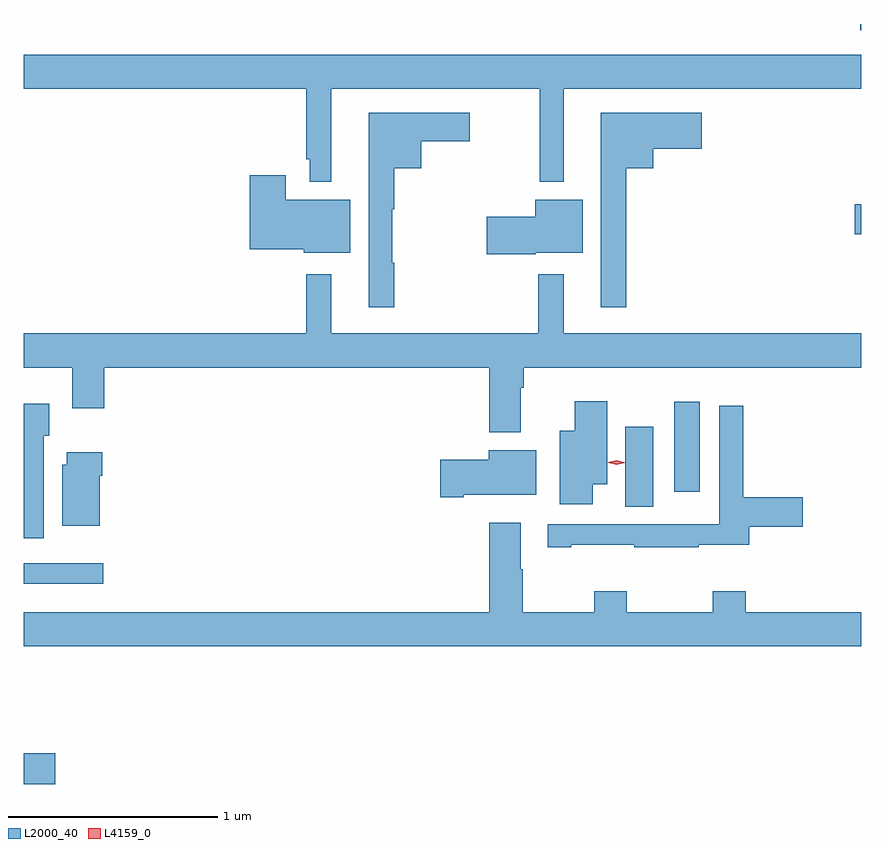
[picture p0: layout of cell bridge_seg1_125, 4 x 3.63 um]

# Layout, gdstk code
import gdstk
lib = gdstk.Library(unit=1e-6, precision=1e-09)
def R(c, l, rs):  # rectangles x0, y0, x1, y1
    for r in rs: c.add(gdstk.rectangle(r[:2], r[2:], *l))
def P(c, l, *ps):  # polygons
    for p in ps: c.add(gdstk.Polygon(p, *l))
L2000_40 = (2000, 40)
L4159_0 = (4159, 0)

bridge_seg1_125 = lib.new_cell('bridge_seg1_125')
R(bridge_seg1_125, L2000_40, [(300.782,529.763,300.931,529.91), (300.782,530.72,301.162,530.817), (303.656,531.088,303.79,531.469), (303.89,531.159,304.012,531.589), (304.752,532.39,304.782,532.532), (304.778,533.363,304.782,533.394)])
P(bridge_seg1_125, L2000_40, [(302.251,533.084),(303.247,533.084),(303.247,532.64),(303.361,532.64),(303.361,533.084),(304.782,533.084),(304.782,533.248),(300.782,533.248),(300.782,533.084),(302.13,533.084),(302.13,532.747),(302.147,532.747),(302.147,532.64),(302.251,532.64)],
  [(302.551,532.253),(302.543,532.253),(302.543,532.51),(302.551,532.51),(302.551,532.706),(302.68,532.706),(302.68,532.835),(302.911,532.835),(302.911,532.969),(302.429,532.969),(302.429,532.041),(302.551,532.041)],
  [(303.661,532.706),(303.79,532.706),(303.79,532.799),(304.021,532.799),(304.021,532.969),(303.539,532.969),(303.539,532.041),(303.661,532.041)],
  [(302.341,532.555),(302.032,532.555),(302.032,532.672),(301.862,532.672),(301.862,532.319),(302.118,532.319),(302.118,532.301),(302.341,532.301)],
  [(303.228,532.301),(303.451,532.301),(303.451,532.555),(303.224,532.555),(303.224,532.472),(302.994,532.472),(302.994,532.294),(303.228,532.294)],
  [(303.157,531.656),(303.17,531.656),(303.17,531.752),(304.782,531.752),(304.782,531.916),(303.361,531.916),(303.361,532.198),(303.24,532.198),(303.24,531.916),(302.251,531.916),(302.251,532.198),(302.13,532.198),(302.13,531.916),(300.782,531.916),(300.782,531.752),(301.013,531.752),(301.013,531.558),(301.166,531.558),(301.166,531.752),(303.005,531.752),(303.005,531.443),(303.157,531.443)],
  [(303.499,531.194),(303.568,531.194),(303.568,531.592),(303.413,531.592),(303.413,531.451),(303.341,531.451),(303.341,531.099),(303.499,531.099)],
  [(300.877,531.426),(300.904,531.426),(300.904,531.58),(300.782,531.58),(300.782,530.937),(300.877,530.937)],
  [(303.397,530.905),(303.697,530.905),(303.697,530.895),(304.007,530.895),(304.007,530.905),(304.247,530.905),(304.247,530.992),(304.504,530.992),(304.504,531.134),(304.22,531.134),(304.22,531.571),(304.104,531.571),(304.104,531.004),(303.894,531.004),(303.894,531.003),(303.285,531.003),(303.285,530.895),(303.397,530.895)],
  [(302.884,531.146),(303.229,531.146),(303.229,531.358),(303.002,531.358),(303.002,531.312),(302.772,531.312),(302.772,531.134),(302.884,531.134)],
  [(301.144,531.236),(301.157,531.236),(301.157,531.349),(300.986,531.349),(300.986,531.288),(300.965,531.288),(300.965,530.996),(301.144,530.996)],
  [(304.782,530.584),(304.232,530.584),(304.232,530.683),(304.072,530.683),(304.072,530.584),(303.663,530.584),(303.663,530.683),(303.508,530.683),(303.508,530.584),(303.165,530.584),(303.165,530.789),(303.157,530.789),(303.157,531.01),(303.005,531.01),(303.005,530.584),(300.782,530.584),(300.782,530.42),(304.782,530.42)])
P(bridge_seg1_125, L4159_0, [(303.614,531.289),(303.574,531.299),(303.573,531.3),(303.574,531.3),(303.614,531.309),(303.654,531.299),(303.654,531.299),(303.654,531.299)])

lib.write_gds('bridge_seg1_125.gds')
